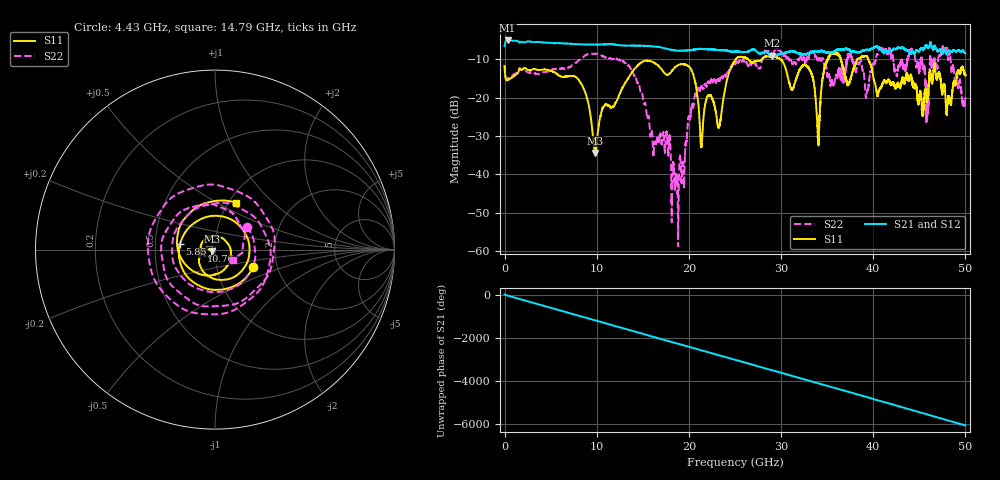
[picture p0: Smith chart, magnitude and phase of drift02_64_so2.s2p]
!Created with skrf (http://scikit-rf.org).
# Hz S RI R 50.0
!freq ReS11 ImS11 ReS21 ImS21 ReS12 ImS12 ReS22 ImS22
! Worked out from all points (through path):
!   10001 points, 300 kHz to 50 GHz, reference 50 ohm
!   highest |S21| = -5.04 dB at 325.3 MHz (marker M1); lowest = -9.0 dB at 29.05 GHz (marker M2)
!   group delay of S21, straight-line fit = 336 ps
!   lowest |S11| = -34.4 dB at 9.815 GHz (marker M3), VSWR 1.04, Z = 48.4 - j0.892 ohm
!   |S11| at or under -10 dB: start of sweep to 25.08 GHz; 29.97 GHz to 35.06 GHz (5.085 GHz wide, 15.6 % of centre); 39.48 GHz to end of sweep (the widest 3 of 8)
!   |S22| runs from -58.7 to -6.5 dB; largest |S21 - S12| = 0.021
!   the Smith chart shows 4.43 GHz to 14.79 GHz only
!   S11 on the Smith chart (normalised r, x): 4.43 GHz: 1.50, -0.31; 5.85 GHz: 0.67, +0.04; 10.76 GHz: 0.86, -0.01; 14.79 GHz: 1.09, +0.62
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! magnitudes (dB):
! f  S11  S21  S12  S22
! 300 kHz  -11.7  -6.5  -6.5  -11.6
! 325.3 MHz  -15.4  -5.0  -5.0  -15.0
! 4.43 GHz  -12.6  -5.6  -5.6  -13.3
! 5.85 GHz  -14.1  -5.7  -5.7  -12.5
! 8.335 GHz  -16.4  -6.1  -6.0  -9.6
! 9.815 GHz  -34.4  -6.1  -6.1  -8.5
! 10.76 GHz  -22.3  -6.1  -6.1  -9.2
! 14.79 GHz  -10.8  -6.4  -6.4  -18.6
! 16.67 GHz  -11.6  -6.7  -6.7  -31.3
! 18.67 GHz  -11.7  -7.7  -7.7  -40.2
! 20.37 GHz  -13.3  -7.5  -7.5  -21.9
! 21.37 GHz  -32.0  -7.2  -7.2  -16.9
! 23.31 GHz  -27.3  -7.5  -7.6  -15.5
! 25 GHz  -10.3  -8.0  -8.0  -11.2
! 29.05 GHz  -9.1  -9.0  -9.0  -8.2
! 33.34 GHz  -14.0  -8.1  -8.2  -8.1
! 34.02 GHz  -31.2  -7.9  -7.9  -10.2
! 35.51 GHz  -8.4  -8.2  -8.2  -15.5
! 41.67 GHz  -15.3  -7.7  -7.8  -7.6
! 45.86 GHz  -20.8  -6.7  -6.8  -21.1
! 47.76 GHz  -17.6  -7.6  -7.5  -7.3
! 50 GHz  -14.1  -8.4  -8.4  -19.8
